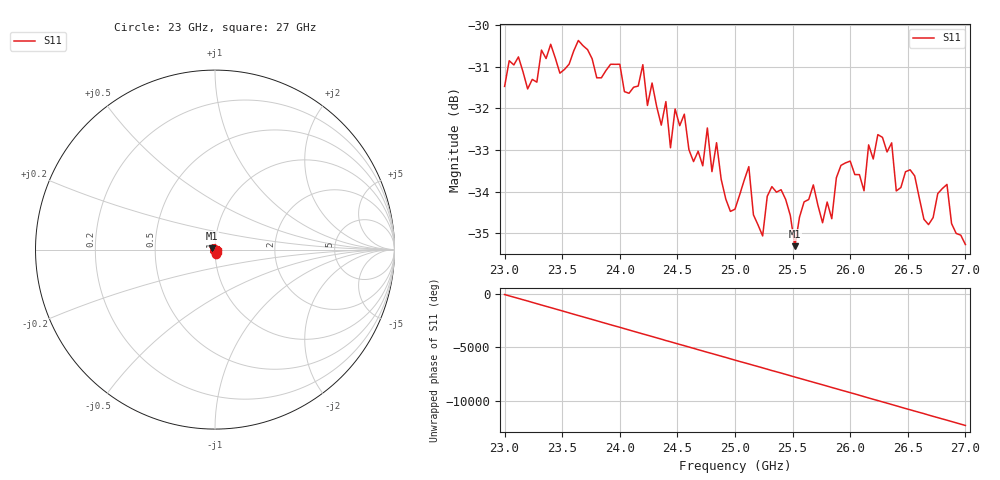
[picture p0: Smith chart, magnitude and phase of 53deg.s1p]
#  HZ  S  RI  R  50.00
! Rohde & Schwarz ZVA40 4Ports - Version 3.90 - 1145.1110k42 SN: 100403
! Date: 2023-09-26 10:58:06
! Measurement: S12
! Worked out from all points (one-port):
!   101 points, 23 GHz to 27 GHz, reference 50 ohm
!   lowest |S11| = -35.3 dB at 25.52 GHz (marker M1), VSWR 1.03, Z = 48.5 + j0.699 ohm
!   |S11| at or under -10 dB: start of sweep to end of sweep
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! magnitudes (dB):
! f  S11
! 23 GHz  -31.5
! 23.4 GHz  -30.5
! 23.52 GHz  -31.1
! 24 GHz  -30.9
! 24.4 GHz  -31.8
! 24.44 GHz  -32.9
! 24.48 GHz  -32.0
! 24.52 GHz  -32.4
! 24.72 GHz  -33.4
! 24.76 GHz  -32.5
! 24.8 GHz  -33.5
! 24.84 GHz  -32.8
! 25 GHz  -34.4
! 25.12 GHz  -33.4
! 25.24 GHz  -35.1
! 25.32 GHz  -33.9
! 25.52 GHz  -35.3
! 25.68 GHz  -33.8
! 25.84 GHz  -34.6
! 26 GHz  -33.3
! 26.12 GHz  -34.0
! 26.24 GHz  -32.6
! 26.36 GHz  -32.8
! 26.4 GHz  -34.0
! 26.52 GHz  -33.5
! 26.68 GHz  -34.8
! 26.84 GHz  -33.8
! 27 GHz  -35.3
